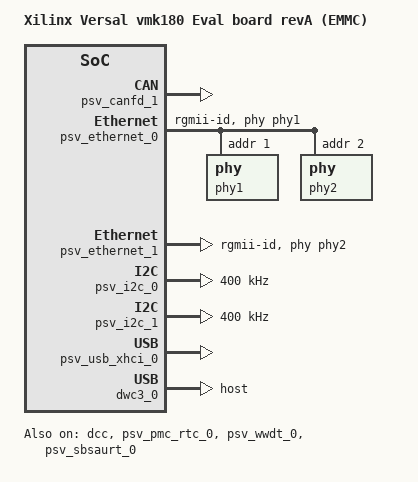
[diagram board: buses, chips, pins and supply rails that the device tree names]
// SPDX-License-Identifier: GPL-2.0
/*
 * dts file for Xilinx Versal vmk180 revA with X-EBM-02-revA module
 *
 * (C) Copyright 2020, Xilinx, Inc.
 *
 * Michal Simek <michal.simek@xilinx.com>
 */

/ {
	compatible = "xlnx,versal-vmk180-revA-x-ebm-02-revA",
		     "xlnx,versal-vmk180-revA", "xlnx,versal";
	model = "Xilinx Versal vmk180 Eval board revA (EMMC)";

	chosen {
		bootargs = "console=ttyAMA0 earlycon=pl011,mmio32,0xFF000000,115200n8 clk_ignore_unused";
		stdout-path = "serial0:115200";
	};

	aliases {
		serial0 = &psv_sbsaurt_0;
		ethernet0 = &psv_ethernet_0;
		ethernet1 = &psv_ethernet_1;
		i2c0 = &psv_i2c_0;
		i2c1 = &psv_i2c_1;
		mmc0 = &psv_pmc_sd_1;
		spi0 = &psv_pmc_qspi_0;
		usb0 = &psv_usb_xhci_0;
		rtc0 = &psv_pmc_rtc_0;
	};
};

/* PMC_MIO 0 -12 - configuration header QSPI/OSPI/EMMC */
/* FIXME PMC_MIO37 ZU4_TRIGGER/PMC_MIO37/38 PCIE */

&psv_canfd_1 { /* MIO40-41 */
	status = "okay";
};

&dcc {
	status = "okay";
};

&psv_pmc_rtc_0 {
	status = "okay";
};

&psv_gpio_0 {
	status = "okay";
};

&psv_gpio_0 {
	status = "okay";
};

&psv_wwdt_0 {
	status = "okay";
};

&psv_pmc_sd_1 { /* emmc MIO 0-13 - MTFC8GAKAJCN */
	non-removable;
	disable-wp;
	bus-width = <8>;
	xlnx,mio_bank = <0>;
	no-1-8-v;
};

&psv_sbsaurt_0 { /* PMC_MIO42/43 */
	status = "okay";
};

&psv_ethernet_0 { /* PMC_MIO_48, LPD_MIO0-11/24/25 */
	status = "okay";
	phy-handle = <&phy1>; /* u128 */
	phy-mode = "rgmii-id";
	phy1: phy@1 {
		reg = <1>;
		ti,rx-internal-delay = <0xb>;
		ti,tx-internal-delay = <0xa>;
		ti,fifo-depth = <1>;
		ti,dp83867-rxctrl-strap-quirk;
	};
	phy2: phy@2 {
		reg = <2>;
		ti,rx-internal-delay = <0xb>;
		ti,tx-internal-delay = <0xa>;
		ti,fifo-depth = <1>;
		ti,dp83867-rxctrl-strap-quirk;
	};
};

&psv_ethernet_1 { /* PMC_MIO_49, LPD_MIO12-23 */
	status = "okay";
	phy-handle = <&phy2>; /* u134 */
	phy-mode = "rgmii-id";
};

&psv_i2c_0 { /* PMC_MIO46/47 */
	status = "okay";
	clock-frequency = <400000>;
};

&psv_i2c_1 { /* PMC_MIO44/45 */
	status = "okay";
	clock-frequency = <400000>;
};

&psv_usb_xhci_0 { /* PMC_MIO13_500 - PMC_MIO25 USB 2.0 */
	status = "okay";
	xlnx,usb-polarity = <0x0>;
	xlnx,usb-reset-mode = <0x0>;
};

&dwc3_0 { /* USB 2.0 host */
	status = "okay";
	dr_mode = "host";
	maximum-speed = "high-speed";
	snps,dis_u2_susphy_quirk;
	snps,dis_u3_susphy_quirk;
	snps,usb3_lpm_capable;
};

&psv_pmc_sd_0 {
	/* emmc MIO 0-13 - MTFC8GAKAJCN */
	non-removable;
	disable-wp;
	bus-width = <8>;
	xlnx,mio_bank = <0>;
	no-1-8-v;
};
